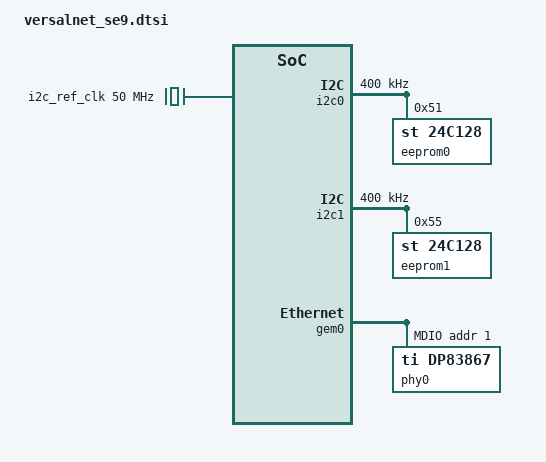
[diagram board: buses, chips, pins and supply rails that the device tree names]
// SPDX-License-Identifier: Apache-2.0
/*
 * (C) Copyright 2026, Advanced Micro Devices, Inc.
 *
 */

/ {
	aliases {
		eeprom-0 = &eeprom0;
		eeprom-1 = &eeprom1;
	};

	i2c_ref_clk: i2c-ref-clk {
		compatible = "fixed-clock";
		clock-frequency = <50000000>;
		#clock-cells = <0>;
	};
};

&i2c0 {
	status = "okay";
	clocks = <&i2c_ref_clk>;
	clock-frequency = <400000>;

	eeprom0: eeprom@51 {
		compatible = "st,24c128", "atmel,at24";
		reg = <0x51>;
		size = <0x4000>;
		pagesize = <64>;
		address-width = <16>;
		timeout = <5>;
	};
};

&i2c1 {
	status = "okay";
	clocks = <&i2c_ref_clk>;
	clock-frequency = <400000>;

	eeprom1: eeprom@55 {
		compatible = "st,24c128", "atmel,at24";
		reg = <0x55>;
		size = <0x4000>;
		pagesize = <64>;
		address-width = <16>;
		timeout = <5>;
	};
};

&gem0 {
	gem0_mac: ethernet_mac {
		phy-handle = <&phy0>;
	};

	gem0_mdio: mdio {
		compatible = "xlnx,gem-mdio";
		status = "okay";
		#address-cells = <1>;
		#size-cells = <0>;

		phy0: ethernet-phy@1 {
			reg = <0x1>;
			compatible = "ti,dp83867";
			ti,rx-internal-delay = <0x8>;
			ti,tx-internal-delay = <0xa>;
			ti,interface-type = "rgmii-id";
			status = "okay";
		};
	};
};
